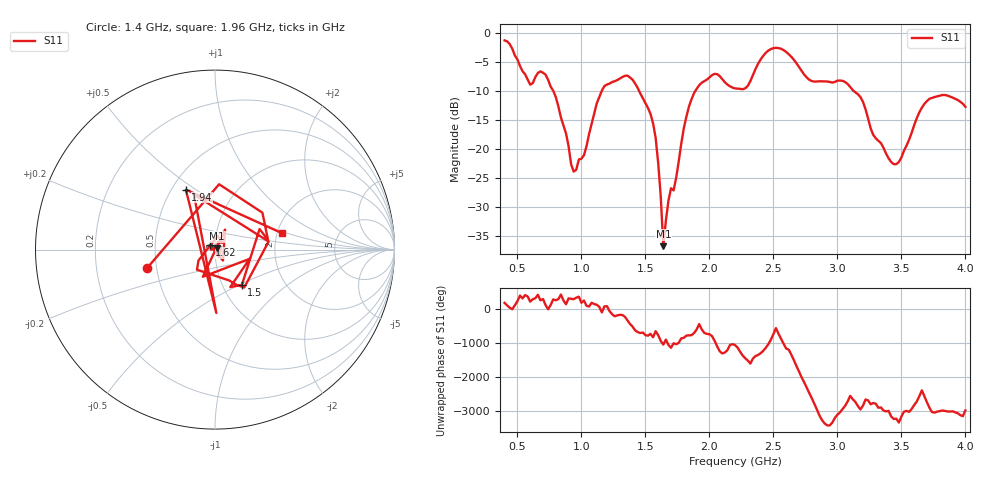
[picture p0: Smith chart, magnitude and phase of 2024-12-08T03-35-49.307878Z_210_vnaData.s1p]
!Created with skrf (http://scikit-rf.org).
# Hz S RI R 50.0
!freq ReS11 ImS11
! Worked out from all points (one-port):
!   181 points, 400 MHz to 4 GHz, reference 50 ohm
!   lowest |S11| = -36.7 dB at 1.64 GHz (marker M1), VSWR 1.03, Z = 51.3 + j0.765 ohm
!   |S11| at or under -10 dB: 780 MHz to 1.159 GHz (379.2 MHz wide, 39.1 % of centre); 1.451 GHz to 1.891 GHz (440.4 MHz wide, 26.4 % of centre); 3.127 GHz to end of sweep
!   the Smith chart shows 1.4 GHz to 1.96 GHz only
!   S11 on the Smith chart (normalised r, x): 1.4 GHz: 0.44, -0.11; 1.5 GHz: 1.23, -0.52; 1.62 GHz: 0.94, +0.05; 1.94 GHz: 0.59, +0.46; 1.96 GHz: 2.11, +0.46
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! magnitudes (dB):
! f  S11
! 400 MHz  -1.3
! 600 MHz  -8.9
! 720 MHz  -7.2
! 860 MHz  -16.0
! 920 MHz  -22.7
! 960 MHz  -23.6
! 1.16 GHz  -10.0
! 1.3 GHz  -7.9
! 1.4 GHz  -8.1
! 1.5 GHz  -12.1
! 1.58 GHz  -18.1
! 1.62 GHz  -28.3
! 1.64 GHz  -36.7
! 1.68 GHz  -28.9
! 1.76 GHz  -22.2
! 1.84 GHz  -12.7
! 1.94 GHz  -8.6
! 1.96 GHz  -8.3
! 2.2 GHz  -9.6
! 2.3 GHz  -9.2
! 2.48 GHz  -2.8
! 2.66 GHz  -4.6
! 2.8 GHz  -8.3
! 3.1 GHz  -9.3
! 3.42 GHz  -22.2
! 3.56 GHz  -18.4
! 3.72 GHz  -11.3
! 4 GHz  -12.8
